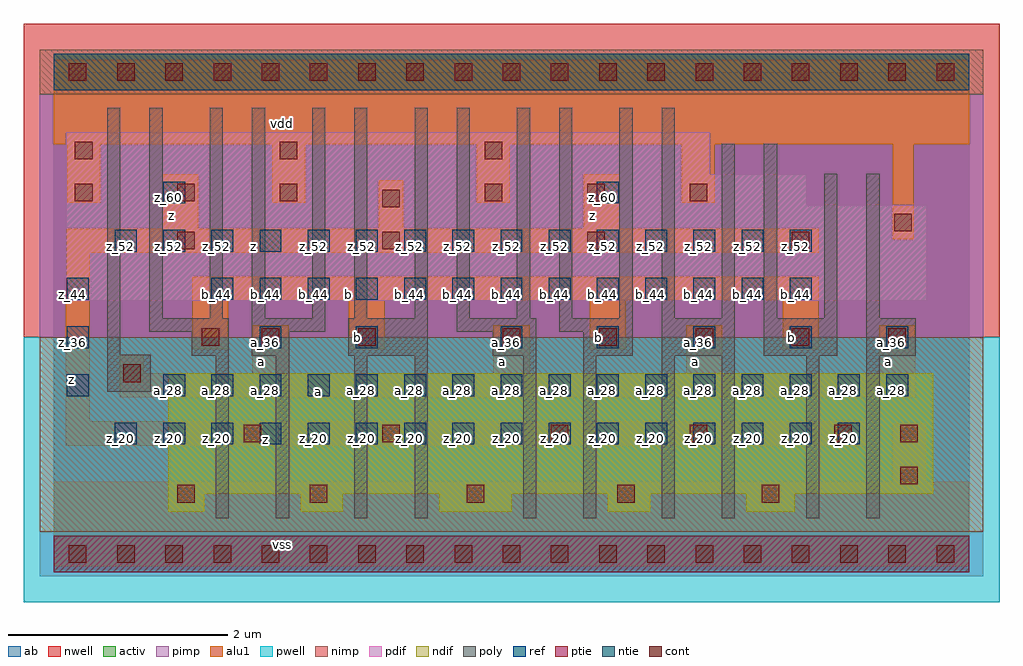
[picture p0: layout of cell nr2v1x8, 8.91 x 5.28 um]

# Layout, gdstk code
import gdstk
lib = gdstk.Library(unit=1e-6, precision=2.5e-09)
def R(c, l, rs):  # rectangles x0, y0, x1, y1
    for r in rs: c.add(gdstk.rectangle(r[:2], r[2:], *l))
def A(c, l, x, y, w, h, nx, ny, dx, dy):  # array of equal rectangles
    R(c, l, [(x+i*dx, y+j*dy, x+i*dx+w, y+j*dy+h) for i in range(nx) for j in range(ny)])
ndif = (3, 0)
pdif = (4, 0)
ntie = (5, 0)
ptie = (6, 0)
ref = (24, 0)
cont = (25, 0)
pwell = (41, 0)
nwell = (42, 0)
activ = (43, 0)
pimp = (44, 0)
nimp = (45, 0)
poly = (46, 0)
alu1 = (49, 0)
ab = (63, 0)

nr2v1x8 = lib.new_cell('nr2v1x8')
R(nr2v1x8, ndif, [(1.045,0.385,1.375,0.55), (2.255,0.385,2.64,0.55), (3.52,0.385,4.18,0.55), (5.06,0.385,5.445,0.55), (6.325,0.385,6.765,0.55), (1.045,0.55,8.03,1.65)])
R(nr2v1x8, pdif, [(0.11,2.31,7.975,3.19), (0.11,3.19,6.875,3.465), (0.11,3.465,5.995,3.85)])
R(nr2v1x8, ntie, [(0,4.235,8.36,4.565)])
R(nr2v1x8, ptie, [(0,-0.165,8.36,0.165)])
A(nr2v1x8, ref, 0.56, 1, 0.2, 0.2, 16, 1, 0.44, 0)
A(nr2v1x8, ref, 0.12, 1.44, 0.2, 0.2, 1, 3, 0, 0.44)
A(nr2v1x8, ref, 1, 1.44, 0.2, 0.2, 16, 1, 0.44, 0)
A(nr2v1x8, ref, 4.08, 1.88, 0.2, 0.2, 5, 1, 0.88, 0)
A(nr2v1x8, ref, 1.44, 2.32, 0.2, 0.2, 13, 1, 0.44, 0)
A(nr2v1x8, ref, 0.56, 2.76, 0.2, 0.2, 15, 1, 0.44, 0)
R(nr2v1x8, ref, [(1.88,1.88,2.08,2.08), (2.76,1.88,2.96,2.08), (1,3.2,1.2,3.4), (4.96,3.2,5.16,3.4)])
A(nr2v1x8, cont, 0.14, -0.08, 0.16, 0.16, 19, 2, 0.44, 4.4)
A(nr2v1x8, cont, 4.1, 1.9, 0.16, 0.16, 5, 1, 0.88, 0)
A(nr2v1x8, cont, 1.13, 2.78, 0.16, 0.16, 4, 1, 1.87, 0)
A(nr2v1x8, cont, 0.195, 3.22, 0.16, 0.16, 3, 1, 0.935, 0)
A(nr2v1x8, cont, 3.935, 3.22, 0.16, 0.16, 3, 1, 0.935, 0)
A(nr2v1x8, cont, 0.195, 3.605, 0.16, 0.16, 3, 1, 1.87, 0)
R(nr2v1x8, cont, [(1.13,0.47,1.29,0.63), (2.34,0.47,2.5,0.63), (3.77,0.47,3.93,0.63), (5.145,0.47,5.305,0.63), (6.465,0.47,6.625,0.63), (7.73,0.635,7.89,0.795), (1.735,1.02,1.895,1.18), (3,1.02,3.16,1.18), (4.54,1.02,4.7,1.18), (5.805,1.02,5.965,1.18), (7.125,1.02,7.285,1.18), (7.73,1.02,7.89,1.18), (0.635,1.57,0.795,1.73), (1.35,1.9,1.51,2.06), (1.9,1.9,2.06,2.06), (2.78,1.9,2.94,2.06), (7.675,2.945,7.835,3.105), (3,3.165,3.16,3.325)])
R(nr2v1x8, pwell, [(-0.275,-0.44,8.635,1.98)])
R(nr2v1x8, nwell, [(-0.275,1.98,8.635,4.84)])
R(nr2v1x8, activ, [(0,-0.165,8.36,0.165), (1.045,0.385,1.375,0.55), (2.255,0.385,2.64,0.55), (3.52,0.385,4.18,0.55), (5.06,0.385,5.445,0.55), (6.325,0.385,6.765,0.55), (1.045,0.55,8.03,1.65), (0.11,2.31,7.975,3.19), (0.11,3.19,6.875,3.465), (0.11,3.465,5.995,3.85), (0,4.235,8.36,4.565)])
R(nr2v1x8, pimp, [(-0.125,-0.205,8.485,0.205), (-0.125,1.98,8.485,4.195)])
R(nr2v1x8, nimp, [(-0.125,0.205,8.485,1.98), (-0.125,4.195,8.485,4.605)])
R(nr2v1x8, poly, [(1.48,0.325,1.6,1.81), (2.03,0.325,2.15,1.81), (2.745,0.325,2.865,1.81), (3.295,0.325,3.415,1.81), (4.285,0.325,4.405,1.81), (4.835,0.325,4.955,1.81), (5.55,0.325,5.67,1.81), (6.1,0.325,6.22,1.81), (6.87,0.325,6.99,1.81), (7.42,0.325,7.54,1.81), (0.49,1.48,0.885,1.82), (1.26,1.81,1.6,2.03), (1.81,1.81,2.15,2.03), (2.69,1.81,3.415,2.15), (4.01,1.81,4.405,2.03), (4.835,1.81,5.285,2.03), (5.55,1.81,6.22,2.15), (6.485,1.81,7.155,2.15), (7.42,1.81,7.87,2.15), (0.49,1.82,0.61,4.075), (0.875,2.03,1.6,2.15), (1.81,2.03,2.48,2.15), (3.68,2.03,4.405,2.15), (4.615,2.03,5.285,2.15), (0.875,2.15,0.995,4.075), (1.425,2.15,1.545,4.075), (1.81,2.15,1.93,4.075), (2.36,2.15,2.48,4.075), (2.745,2.15,2.865,4.075), (3.295,2.15,3.415,4.075), (3.68,2.15,3.8,4.075), (4.23,2.15,4.35,4.075), (4.615,2.15,4.735,4.075), (5.165,2.15,5.285,4.075), (5.55,2.15,5.67,4.075), (6.1,2.15,6.22,3.745), (6.485,2.15,6.605,3.745), (7.035,2.15,7.155,3.47), (7.42,2.15,7.54,3.47)])
A(nr2v1x8, alu1, 4.015, 1.65, 0.33, 0.44, 3, 1, 1.76, 0)
A(nr2v1x8, alu1, 0.125, 3.205, 0.3, 0.535, 4, 1, 1.87, 0)
R(nr2v1x8, alu1, [(0,-0.11,8.36,0.66), (7.66,0.66,7.96,1.195), (0.11,0.99,7.425,1.21), (0.11,1.21,0.33,2.75), (0.605,1.43,7.865,1.65), (0.605,1.65,0.825,1.815), (1.815,1.65,2.145,2.09), (1.265,1.87,1.595,2.31), (2.695,1.87,3.025,2.31), (4.895,1.87,5.225,2.31), (6.655,1.87,6.985,2.31), (1.265,2.31,6.985,2.53), (0.11,2.75,6.985,2.97), (7.66,2.875,7.85,3.74), (0.99,2.97,1.32,3.465), (2.97,2.97,3.19,3.41), (4.84,2.97,5.17,3.465), (0,3.74,8.36,4.51)])
R(nr2v1x8, ab, [(0,0,8.36,4.4)])
nr2v1x8.add(gdstk.Label('vss', (2.09,0.0825), layer=49, texttype=0))
nr2v1x8.add(gdstk.Label('z', (1.9375,1.045), layer=49, texttype=0))
nr2v1x8.add(gdstk.Label('a', (2.42,1.485), layer=49, texttype=0))
nr2v1x8.add(gdstk.Label('a', (7.6175,1.76), layer=49, texttype=0))
nr2v1x8.add(gdstk.Label('b', (6.7375,1.98), layer=49, texttype=0))
nr2v1x8.add(gdstk.Label('a', (5.8575,1.76), layer=49, texttype=0))
nr2v1x8.add(gdstk.Label('b', (4.9775,1.98), layer=49, texttype=0))
nr2v1x8.add(gdstk.Label('a', (4.0975,1.76), layer=49, texttype=0))
nr2v1x8.add(gdstk.Label('b', (2.7775,1.98), layer=49, texttype=0))
nr2v1x8.add(gdstk.Label('a', (1.8975,1.76), layer=49, texttype=0))
nr2v1x8.add(gdstk.Label('b', (2.695,2.365), layer=49, texttype=0))
nr2v1x8.add(gdstk.Label('z', (0.165,1.595), layer=49, texttype=0))
nr2v1x8.add(gdstk.Label('z', (1.8275,2.805), layer=49, texttype=0))
nr2v1x8.add(gdstk.Label('z', (4.9225,3.0925), layer=49, texttype=0))
nr2v1x8.add(gdstk.Label('z', (1.0725,3.0925), layer=49, texttype=0))
nr2v1x8.add(gdstk.Label('vdd', (2.09,3.9325), layer=49, texttype=0))
nr2v1x8.add(gdstk.Label('z_60', (5.01,3.25), layer=24, texttype=0))
nr2v1x8.add(gdstk.Label('z_52', (5.01,2.81), layer=24, texttype=0))
nr2v1x8.add(gdstk.Label('b_44', (5.01,2.37), layer=24, texttype=0))
nr2v1x8.add(gdstk.Label('b_36', (5.01,1.93), layer=24, texttype=0))
nr2v1x8.add(gdstk.Label('a_28', (5.01,1.49), layer=24, texttype=0))
nr2v1x8.add(gdstk.Label('z_20', (5.01,1.05), layer=24, texttype=0))
nr2v1x8.add(gdstk.Label('z_52', (4.57,2.81), layer=24, texttype=0))
nr2v1x8.add(gdstk.Label('b_44', (4.57,2.37), layer=24, texttype=0))
nr2v1x8.add(gdstk.Label('a_28', (4.57,1.49), layer=24, texttype=0))
nr2v1x8.add(gdstk.Label('z_20', (4.57,1.05), layer=24, texttype=0))
nr2v1x8.add(gdstk.Label('z_52', (4.13,2.81), layer=24, texttype=0))
nr2v1x8.add(gdstk.Label('b_44', (4.13,2.37), layer=24, texttype=0))
nr2v1x8.add(gdstk.Label('a_36', (4.13,1.93), layer=24, texttype=0))
nr2v1x8.add(gdstk.Label('a_28', (4.13,1.49), layer=24, texttype=0))
nr2v1x8.add(gdstk.Label('z_20', (4.13,1.05), layer=24, texttype=0))
nr2v1x8.add(gdstk.Label('z_52', (3.69,2.81), layer=24, texttype=0))
nr2v1x8.add(gdstk.Label('b_44', (3.69,2.37), layer=24, texttype=0))
nr2v1x8.add(gdstk.Label('a_28', (3.69,1.49), layer=24, texttype=0))
nr2v1x8.add(gdstk.Label('z_20', (3.69,1.05), layer=24, texttype=0))
nr2v1x8.add(gdstk.Label('z_52', (3.25,2.81), layer=24, texttype=0))
nr2v1x8.add(gdstk.Label('b_44', (3.25,2.37), layer=24, texttype=0))
nr2v1x8.add(gdstk.Label('a_28', (3.25,1.49), layer=24, texttype=0))
nr2v1x8.add(gdstk.Label('z_20', (3.25,1.05), layer=24, texttype=0))
nr2v1x8.add(gdstk.Label('z_52', (2.81,2.81), layer=24, texttype=0))
nr2v1x8.add(gdstk.Label('b_44', (2.81,2.37), layer=24, texttype=0))
nr2v1x8.add(gdstk.Label('b_36', (2.81,1.93), layer=24, texttype=0))
nr2v1x8.add(gdstk.Label('a_28', (2.81,1.49), layer=24, texttype=0))
nr2v1x8.add(gdstk.Label('z_20', (2.81,1.05), layer=24, texttype=0))
nr2v1x8.add(gdstk.Label('z_52', (2.37,2.81), layer=24, texttype=0))
nr2v1x8.add(gdstk.Label('b_44', (2.37,2.37), layer=24, texttype=0))
nr2v1x8.add(gdstk.Label('a_28', (2.37,1.49), layer=24, texttype=0))
nr2v1x8.add(gdstk.Label('z_20', (2.37,1.05), layer=24, texttype=0))
nr2v1x8.add(gdstk.Label('z_44', (0.17,2.37), layer=24, texttype=0))
nr2v1x8.add(gdstk.Label('z_36', (0.17,1.93), layer=24, texttype=0))
nr2v1x8.add(gdstk.Label('z_28', (0.17,1.49), layer=24, texttype=0))
nr2v1x8.add(gdstk.Label('z_52', (1.93,2.81), layer=24, texttype=0))
nr2v1x8.add(gdstk.Label('b_44', (1.93,2.37), layer=24, texttype=0))
nr2v1x8.add(gdstk.Label('a_36', (1.93,1.93), layer=24, texttype=0))
nr2v1x8.add(gdstk.Label('a_28', (1.93,1.49), layer=24, texttype=0))
nr2v1x8.add(gdstk.Label('z_20', (1.93,1.05), layer=24, texttype=0))
nr2v1x8.add(gdstk.Label('z_52', (1.49,2.81), layer=24, texttype=0))
nr2v1x8.add(gdstk.Label('b_44', (1.49,2.37), layer=24, texttype=0))
nr2v1x8.add(gdstk.Label('a_28', (1.49,1.49), layer=24, texttype=0))
nr2v1x8.add(gdstk.Label('z_20', (1.49,1.05), layer=24, texttype=0))
nr2v1x8.add(gdstk.Label('z_60', (1.05,3.25), layer=24, texttype=0))
nr2v1x8.add(gdstk.Label('z_52', (1.05,2.81), layer=24, texttype=0))
nr2v1x8.add(gdstk.Label('a_28', (1.05,1.49), layer=24, texttype=0))
nr2v1x8.add(gdstk.Label('z_20', (1.05,1.05), layer=24, texttype=0))
nr2v1x8.add(gdstk.Label('a_36', (7.65,1.93), layer=24, texttype=0))
nr2v1x8.add(gdstk.Label('a_28', (7.65,1.49), layer=24, texttype=0))
nr2v1x8.add(gdstk.Label('a_28', (7.21,1.49), layer=24, texttype=0))
nr2v1x8.add(gdstk.Label('z_20', (7.21,1.05), layer=24, texttype=0))
nr2v1x8.add(gdstk.Label('z_52', (6.77,2.81), layer=24, texttype=0))
nr2v1x8.add(gdstk.Label('b_44', (6.77,2.37), layer=24, texttype=0))
nr2v1x8.add(gdstk.Label('b_36', (6.77,1.93), layer=24, texttype=0))
nr2v1x8.add(gdstk.Label('a_28', (6.77,1.49), layer=24, texttype=0))
nr2v1x8.add(gdstk.Label('z_20', (6.77,1.05), layer=24, texttype=0))
nr2v1x8.add(gdstk.Label('z_52', (0.61,2.81), layer=24, texttype=0))
nr2v1x8.add(gdstk.Label('z_20', (0.61,1.05), layer=24, texttype=0))
nr2v1x8.add(gdstk.Label('z_52', (6.33,2.81), layer=24, texttype=0))
nr2v1x8.add(gdstk.Label('b_44', (6.33,2.37), layer=24, texttype=0))
nr2v1x8.add(gdstk.Label('a_28', (6.33,1.49), layer=24, texttype=0))
nr2v1x8.add(gdstk.Label('z_20', (6.33,1.05), layer=24, texttype=0))
nr2v1x8.add(gdstk.Label('z_52', (5.89,2.81), layer=24, texttype=0))
nr2v1x8.add(gdstk.Label('b_44', (5.89,2.37), layer=24, texttype=0))
nr2v1x8.add(gdstk.Label('a_36', (5.89,1.93), layer=24, texttype=0))
nr2v1x8.add(gdstk.Label('a_28', (5.89,1.49), layer=24, texttype=0))
nr2v1x8.add(gdstk.Label('z_20', (5.89,1.05), layer=24, texttype=0))
nr2v1x8.add(gdstk.Label('z_52', (5.45,2.81), layer=24, texttype=0))
nr2v1x8.add(gdstk.Label('b_44', (5.45,2.37), layer=24, texttype=0))
nr2v1x8.add(gdstk.Label('a_28', (5.45,1.49), layer=24, texttype=0))
nr2v1x8.add(gdstk.Label('z_20', (5.45,1.05), layer=24, texttype=0))

lib.write_gds('nr2v1x8.gds')
